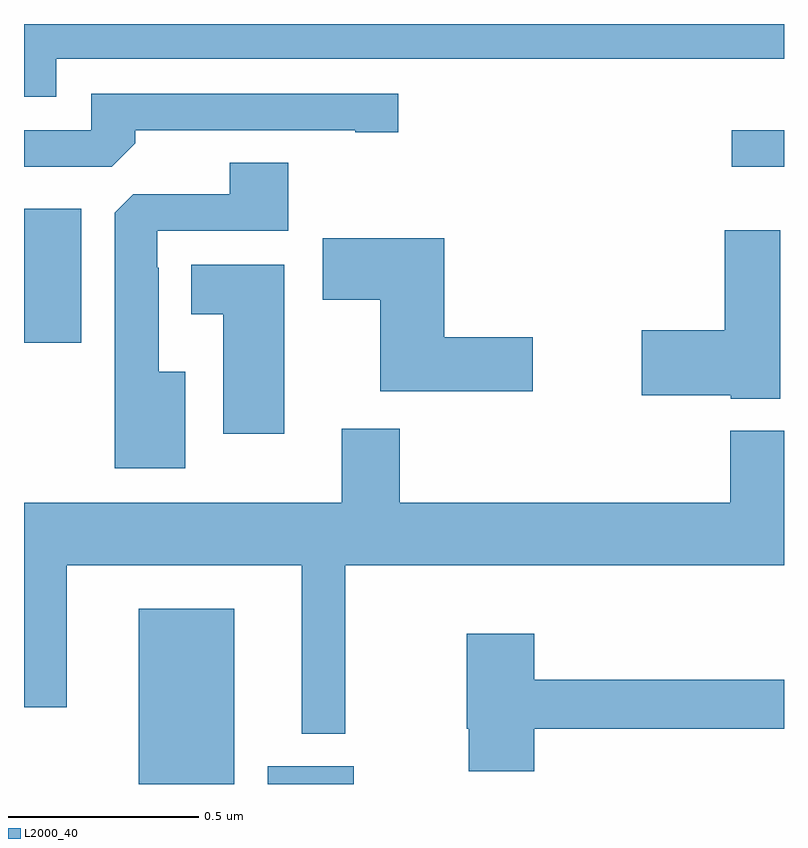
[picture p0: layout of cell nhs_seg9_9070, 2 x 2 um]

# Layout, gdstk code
import gdstk
lib = gdstk.Library(unit=1e-6, precision=1e-09)
def R(c, l, rs):  # rectangles x0, y0, x1, y1
    for r in rs: c.add(gdstk.rectangle(r[:2], r[2:], *l))
def P(c, l, *ps):  # polygons
    for p in ps: c.add(gdstk.Polygon(p, *l))
L2000_40 = (2000, 40)

nhs_seg9_9070 = lib.new_cell('nhs_seg9_9070')
R(nhs_seg9_9070, L2000_40, [(225.302,1206.5,225.553,1206.961), (225.641,1206.5,225.868,1206.547), (225,1207.661,225.151,1208.014), (226.863,1208.124,227,1208.22)])
P(nhs_seg9_9070, L2000_40, [(225.085,1208.408),(227,1208.408),(227,1208.5),(225,1208.5),(225,1208.309),(225.085,1208.309)],
  [(225.293,1208.186),(225.293,1208.22),(225.872,1208.22),(225.872,1208.215),(225.985,1208.215),(225.985,1208.316),(225.177,1208.316),(225.177,1208.22),(225,1208.22),(225,1208.124),(225.231,1208.124)],
  [(225.424,1207.585),(225.355,1207.585),(225.355,1207.859),(225.351,1207.859),(225.351,1207.956),(225.695,1207.956),(225.695,1208.135),(225.542,1208.135),(225.542,1208.052),(225.288,1208.052),(225.239,1208.003),(225.239,1207.331),(225.424,1207.331)],
  [(226.99,1207.957),(226.844,1207.957),(226.844,1207.694),(226.626,1207.694),(226.626,1207.523),(226.86,1207.523),(226.86,1207.514),(226.99,1207.514)],
  [(226.339,1207.676),(226.106,1207.676),(226.106,1207.936),(225.786,1207.936),(225.786,1207.774),(225.938,1207.774),(225.938,1207.534),(226.339,1207.534)],
  [(225.685,1207.867),(225.44,1207.867),(225.44,1207.736),(225.524,1207.736),(225.524,1207.422),(225.685,1207.422)],
  [(225.845,1207.076),(227,1207.076),(227,1207.429),(226.859,1207.429),(226.859,1207.24),(225.989,1207.24),(225.989,1207.435),(225.836,1207.435),(225.836,1207.24),(225,1207.24),(225,1206.702),(225.112,1206.702),(225.112,1207.076),(225.731,1207.076),(225.731,1206.632),(225.845,1206.632)],
  [(226.343,1206.646),(227,1206.646),(227,1206.775),(226.343,1206.775),(226.343,1206.895),(226.165,1206.895),(226.165,1206.646),(226.17,1206.646),(226.17,1206.534),(226.343,1206.534)])

lib.write_gds('nhs_seg9_9070.gds')
